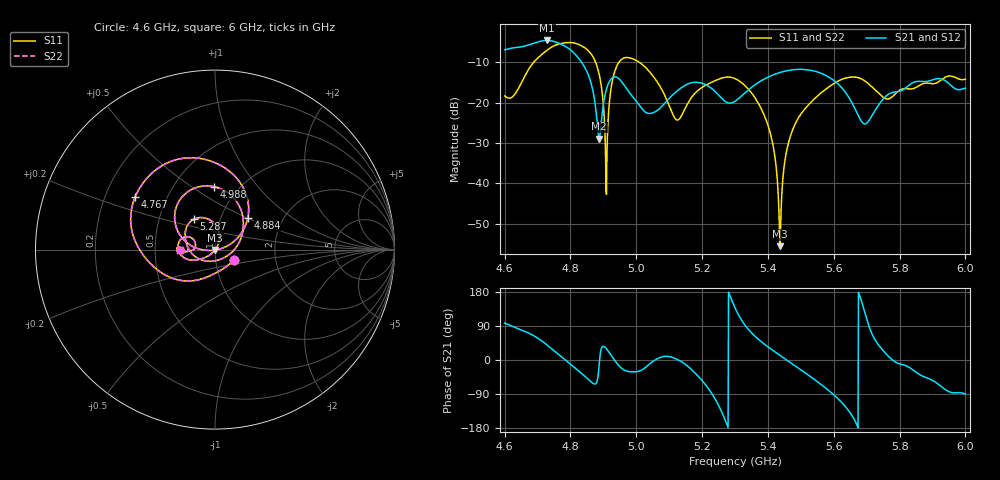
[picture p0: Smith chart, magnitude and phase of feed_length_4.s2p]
! TOUCHSTONE file generated by CST MICROWAVE STUDIO
! Date and time: Mon Dec  2 05:46:48 2024
! Project name: test_tuning.cst
! Parameters = {airCoaxOuterDiameter=3; chamferAngle=45; chamferWidth=24; connectorLength=10; drillingHoleDiameter=4.1; feedLength=50; flareDiameter=130; flareLength=70; gratingDistance=0; gratingGap=1.90274; outletLength=30; polarizerLength=134; probe1Diameter=1.3; probe1Distance=14; probe1Length=1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
! Header version: 2024
! Port assignment regex: !\s*Touchstone port\s*([0-9]+)\s*=\s*(CST MWS port|CST DES external port|CST DES block port)\s*(.+)\s* \(\"(.*)\"\)(\s*mode\s*([0-9]+))?.*
! Touchstone port assignment:
! Touchstone port 1 = CST MWS port 1 ("Input1")
! Touchstone port 2 = CST MWS port 2 ("Input2")
# GHz S MA R 50
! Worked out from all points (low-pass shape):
!   1001 points, 4.6 GHz to 6 GHz, reference 50 ohm
!   highest |S21| = -4.62 dB at 4.729 GHz (marker M1); lowest = -28.9 dB at 4.887 GHz (marker M2)
!   |S21| within 3 dB of the highest: start of sweep to 4.809 GHz
!   lowest |S11| = -55.5 dB at 5.437 GHz (marker M3), VSWR 1.00, Z = 50.1 - j0.152 ohm
!   |S11| at or under -10 dB: start of sweep to 4.689 GHz; 4.876 GHz to 4.948 GHz (71.29 MHz wide, 1.45 % of centre); 5.009 GHz to end of sweep
!   |S22| runs from -55.5 to -5.1 dB; largest |S21 - S12| = 9.3e-07
!   S11 on the Smith chart (normalised r, x): 4.6 GHz: 1.23, -0.14; 4.767 GHz: 0.33, +0.27; 4.884 GHz: 1.34, +0.50; 4.988 GHz: 0.77, +0.62; 5.287 GHz: 0.75, +0.26; 6 GHz: 0.67, -0.01
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4.6  0.1209 -27.3  0.4502 97.4  0.4502 97.4  0.1209 -27.4
4.7288  0.4441 174.6  0.5872 39.8  0.5872 39.8  0.4441 174.6
4.7666  0.5328 146.5  0.539 13.1  0.539 13.1  0.5328 146.5
4.8338  0.5041 95.8  0.3154 -35.2  0.3154 -35.2  0.5041 95.8
4.8632  0.3977 69.3  0.1708 -58.1  0.1708 -58.1  0.3977 69.3
4.8842  0.2519 43.7  0.04239 -40.9  0.04239 -40.9  0.2519 43.7
4.887  0.2266 39.8  0.03573 -16.1  0.03573 -16.1  0.2266 39.8
4.9094  0.007321 -152.5  0.1465 29.5  0.1465 29.5  0.007321 -152.5
4.9346  0.2427 151.4  0.2081 -1.3  0.2081 -1.3  0.2427 151.4
4.9878  0.3504 90.9  0.1199 -31.2  0.1199 -31.2  0.3504 90.9
5.0676  0.1706 28.3  0.08211 4.8  0.08211 4.8  0.1706 28.3
5.125  0.06081 -74.4  0.14 1.4  0.14 1.4  0.06081 -74.4
5.2874  0.2057 124.7  0.09854 163.6  0.09854 163.6  0.2057 124.7
5.3  0.1983 116.2  0.1036 137.7  0.1036 137.7  0.1983 116.2
5.398  0.0555 65.2  0.2041 36.1  0.2041 36.1  0.0555 65.2
5.419  0.02457 55.1  0.2228 22.9  0.2228 22.9  0.02457 55.1
5.4372  0.001675 -64.6  0.2365 11.8  0.2365 11.8  0.001674 -64.6
5.4666  0.03654 -133.5  0.2516 -5.7  0.2516 -5.7  0.03654 -133.5
5.5338  0.1038 -148.0  0.249 -46.6  0.249 -46.6  0.1038 -148.0
5.692  0.1884 158.9  0.05471 132.3  0.05471 132.3  0.1884 158.9
5.7676  0.1114 172.6  0.1279 8.6  0.1279 8.6  0.1114 172.6
6  0.195 -178.9  0.1511 -89.7  0.1511 -89.7  0.195 -178.9
